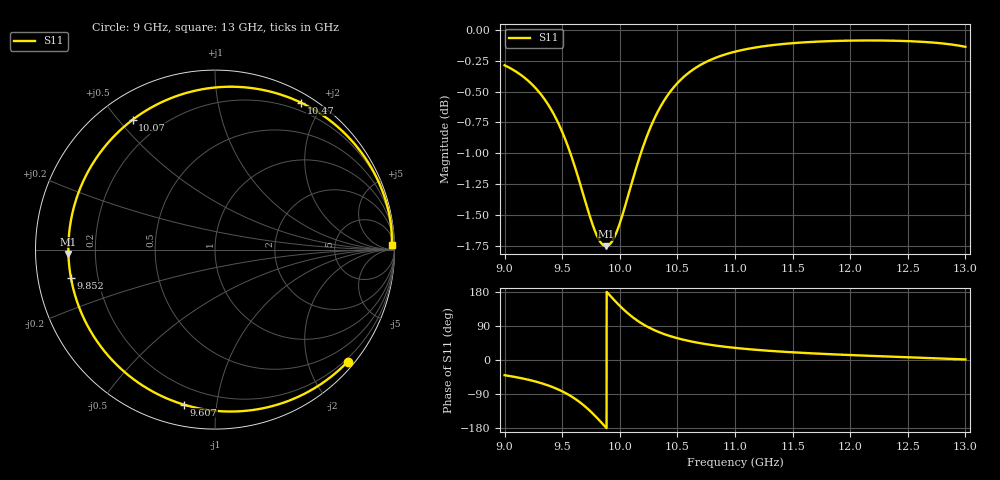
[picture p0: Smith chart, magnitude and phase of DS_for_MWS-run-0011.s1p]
! TOUCHSTONE file generated by CST DESIGN STUDIO
! Date and time: Tue Feb  4 18:12:32 2025
! Project name: C:\Work\MatlabApps\UnitCellOptimizationMatlab\CST\unitcell.cst
! Tree item: Tasks\Sweep1\SPara1\S-Parameters
! Header version: 2024
! Port assignment regex: !\s*Touchstone port\s*([0-9]+)\s*=\s*(CST MWS port|CST DES external port|CST DES block port)\s*(.+)\s* \(\"(.*)\"\)(\s*mode\s*([0-9]+))?.*
! Touchstone port assignment:
! Touchstone port 1 = CST DES external port 1 ("")
# GHz S MA R 50
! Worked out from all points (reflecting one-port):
!   4001 points, 9 GHz to 13 GHz, reference 50 ohm
!   lowest |S11| = -1.8 dB at 9.88 GHz (marker M1), VSWR 9.93, Z = 5.04 - j0.756 ohm
!   phase of S11 starts at -40 deg and turns -318 deg over the sweep
!   S11 on the Smith chart (normalised r, x): 9 GHz: 0.14, -2.73; 9.607 GHz: 0.11, -0.81; 9.852 GHz: 0.10, -0.10; 10.07 GHz: 0.10, +0.55; 10.47 GHz: 0.11, +1.74; 13 GHz: 35, +57
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9  0.9675 -40.2
9.148  0.9583 -48.2
9.281  0.9458 -57.9
9.395  0.9299 -69.0
9.5  0.9092 -82.7
9.557  0.895 -91.9
9.607  0.8809 -101.4
9.669  0.8618 -115.2
9.728  0.8436 -130.5
9.795  0.8264 -150.4
9.852  0.8181 -168.9
9.88  0.817 -178.2
9.937  0.8213 162.7
10  0.8347 142.9
10.037  0.8454 132.1
10.073  0.8568 122.4
10.146  0.8801 105.3
10.229  0.9039 89.6
10.347  0.9297 72.7
10.474  0.9485 59.7
10.5  0.9515 57.5
10.601  0.961 50.1
10.716  0.9688 43.4
11  0.9799 32.0
11.5  0.9877 20.3
12  0.9901 13.0
12.5  0.9896 7.4
13  0.9844 1.5
